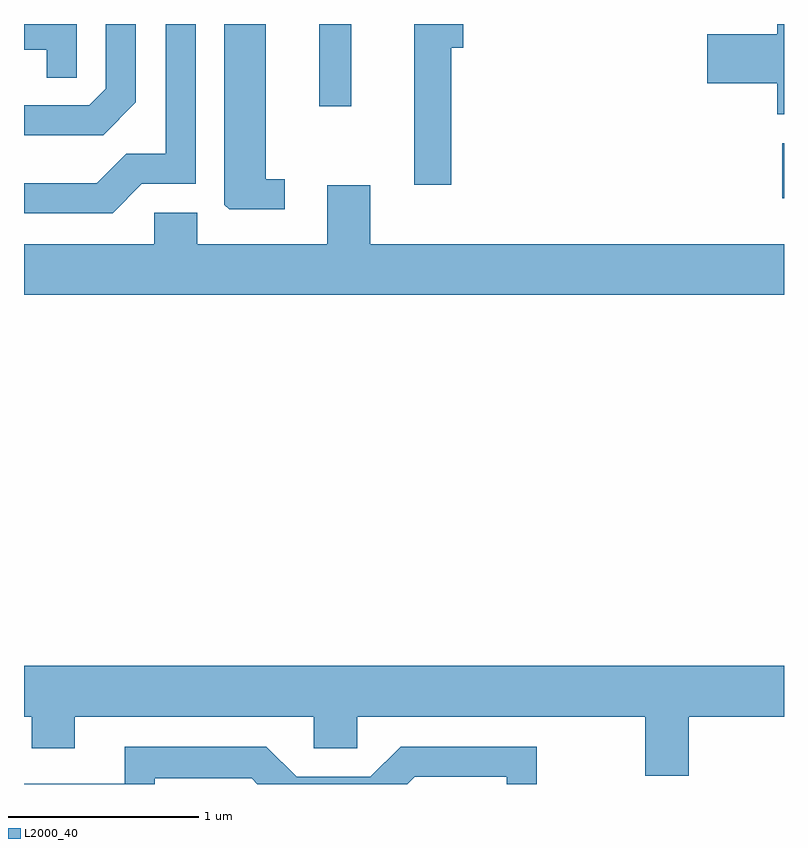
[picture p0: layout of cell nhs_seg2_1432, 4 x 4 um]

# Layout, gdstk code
import gdstk
lib = gdstk.Library(unit=1e-6, precision=1e-09)
def R(c, l, rs):  # rectangles x0, y0, x1, y1
    for r in rs: c.add(gdstk.rectangle(r[:2], r[2:], *l))
def P(c, l, *ps):  # polygons
    for p in ps: c.add(gdstk.Polygon(p, *l))
L2000_40 = (2000, 40)

nhs_seg2_1432 = lib.new_cell('nhs_seg2_1432')
R(nhs_seg2_1432, L2000_40, [(231.601,988.886,231.611,989.174), (229.166,989.368,229.334,989.802)])
P(nhs_seg2_1432, L2000_40, [(228.232,988.961),(228.514,988.961),(228.514,989.802),(228.356,989.802),(228.356,989.119),(228.149,989.119),(227.994,988.964),(227.611,988.964),(227.611,988.806),(228.077,988.806)],
  [(227.889,989.802),(227.611,989.802),(227.611,989.666),(227.731,989.666),(227.731,989.518),(227.889,989.518)],
  [(231.611,989.802),(231.576,989.802),(231.576,989.749),(231.206,989.749),(231.206,989.491),(231.576,989.491),(231.576,989.326),(231.611,989.326)],
  [(229.859,989.676),(229.924,989.676),(229.924,989.802),(229.666,989.802),(229.666,988.956),(229.859,988.956)],
  [(228.983,988.984),(228.884,988.984),(228.884,989.802),(228.666,989.802),(228.666,988.852),(228.692,988.826),(228.983,988.826)],
  [(228.199,989.389),(228.199,989.802),(228.041,989.802),(228.041,989.462),(227.954,989.374),(227.611,989.374),(227.611,989.216),(228.027,989.216)],
  [(231.611,988.644),(229.434,988.644),(229.434,988.954),(229.206,988.954),(229.206,988.644),(228.524,988.644),(228.524,988.809),(228.296,988.809),(228.296,988.644),(227.611,988.644),(227.611,988.376),(231.611,988.376)],
  [(231.109,986.156),(231.611,986.156),(231.611,986.424),(227.611,986.424),(227.611,986.156),(227.651,986.156),(227.651,985.991),(227.879,985.991),(227.879,986.156),(229.136,986.156),(229.136,985.991),(229.364,985.991),(229.364,986.156),(230.881,986.156),(230.881,985.846),(231.109,985.846)],
  [(228.299,985.831),(228.809,985.831),(228.838,985.802),(229.628,985.802),(229.667,985.841),(230.151,985.841),(230.151,985.802),(230.309,985.802),(230.309,985.999),(229.594,985.999),(229.434,985.839),(229.047,985.839),(228.887,985.999),(228.141,985.999),(228.141,985.804),(227.611,985.804),(227.611,985.802),(228.299,985.802)])

lib.write_gds('nhs_seg2_1432.gds')
